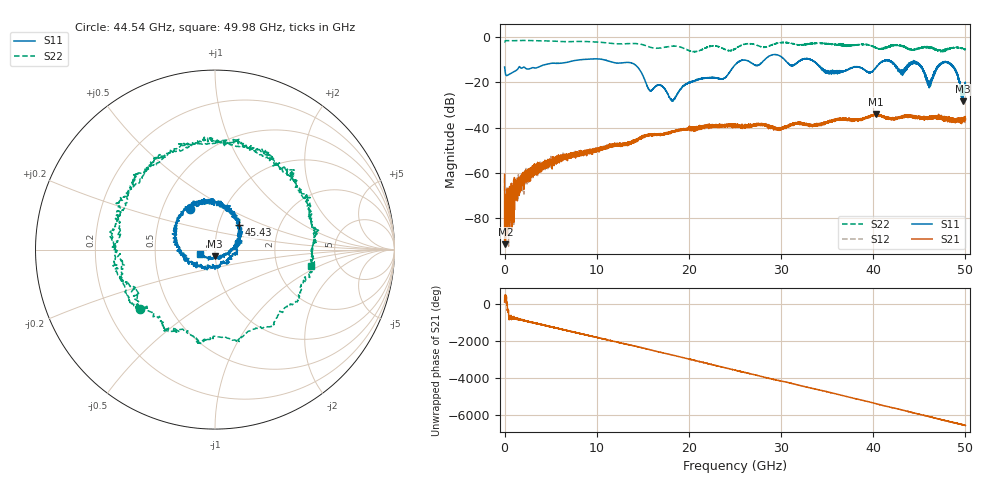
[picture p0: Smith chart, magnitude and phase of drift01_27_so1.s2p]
!Created with skrf (http://scikit-rf.org).
# Hz S RI R 50.0
!freq ReS11 ImS11 ReS21 ImS21 ReS12 ImS12 ReS22 ImS22
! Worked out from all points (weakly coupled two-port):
!   10001 points, 300 kHz to 50 GHz, reference 50 ohm
!   highest |S21| = -34.01 dB at 40.28 GHz (marker M1); lowest = -91.9 dB at 90.3 MHz (marker M2)
!   lowest |S11| = -28.4 dB at 49.72 GHz (marker M3), VSWR 1.08, Z = 50 - j3.82 ohm
!   |S11| at or under -10 dB: start of sweep to 8.051 GHz; 10.89 GHz to 26 GHz (15.11 GHz wide, 81.9 % of centre); 33.27 GHz to end of sweep (the widest 3 of 12)
!   |S22| runs from -6.4 to -1.4 dB; largest |S21 - S12| = 0.0056
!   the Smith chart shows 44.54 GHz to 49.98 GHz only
!   S11 on the Smith chart (normalised r, x): 44.54 GHz: 0.69, +0.34; 45.43 GHz: 1.25, +0.35; 49.98 GHz: 0.84, -0.05
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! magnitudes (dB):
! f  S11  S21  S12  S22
! 300 kHz  -13.2  -60.8  -62.2  -2.1
! 90.3 MHz  -16.1  -91.9  -83.8  -1.5
! 285.3 MHz  -16.9  -67.2  -71.4  -1.4
! 3.13 GHz  -13.4  -60.0  -59.4  -1.4
! 8.335 GHz  -9.9  -51.5  -51.7  -1.8
! 13.77 GHz  -11.3  -46.8  -46.8  -2.7
! 15.73 GHz  -23.5  -43.3  -43.5  -4.2
! 16.67 GHz  -21.1  -43.4  -42.9  -4.8
! 18.24 GHz  -27.7  -41.9  -41.9  -3.9
! 25 GHz  -12.2  -39.2  -38.8  -5.1
! 33.34 GHz  -10.1  -39.0  -39.1  -2.6
! 35.11 GHz  -15.2  -37.4  -37.8  -2.8
! 40.28 GHz  -13.5  -34.0  -34.4  -4.5
! 41.67 GHz  -10.4  -36.4  -36.2  -4.4
! 43.08 GHz  -14.4  -35.1  -35.4  -3.8
! 44.54 GHz  -11.5  -35.0  -35.4  -5.4
! 45.43 GHz  -14.4  -36.0  -35.8  -4.4
! 46.13 GHz  -20.5  -35.0  -34.9  -4.5
! 48.23 GHz  -11.6  -36.1  -36.4  -4.9
! 49.72 GHz  -28.4  -37.0  -36.4  -5.2
! 49.98 GHz  -20.9  -36.4  -35.9  -5.3
! 50 GHz  -21.0  -36.5  -36.1  -5.4
